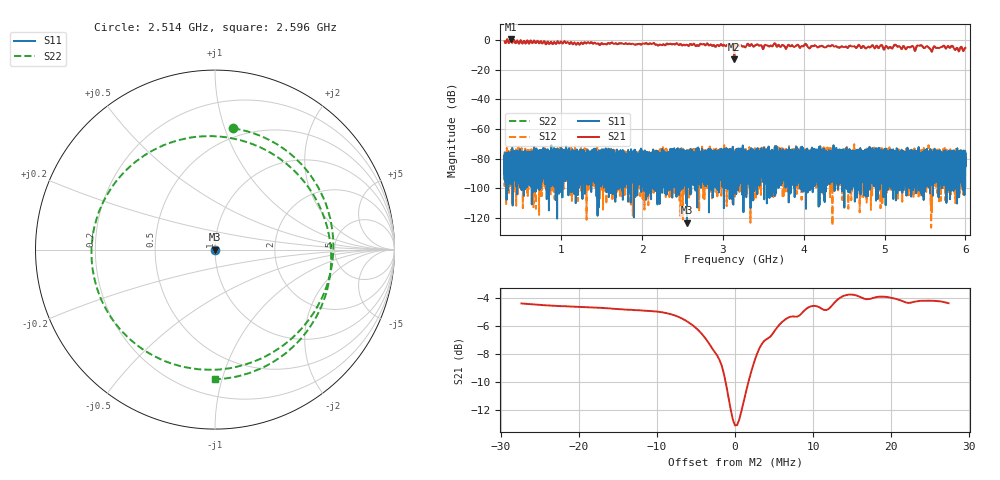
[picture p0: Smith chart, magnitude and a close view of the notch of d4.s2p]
!Agilent Technologies,N5230C,SG49000117,A.08.50.07
!Agilent N5230C: A.08.50.07
!Date: Monday, March 18, 2024 19:13:44
!Correction: S11(Off)
!S21(Off)
!S12(Off)
!S22(Off)
!S2P File: Measurements: S11, S21, S12, S22:
# Hz S  RI  R 50
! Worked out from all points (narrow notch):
!   20001 points, 300 MHz to 6 GHz, reference 50 ohm
!   highest |S21| = 0.44 dB at 373.8 MHz (marker M1); lowest = -13.1 dB at 3.14 GHz (marker M2)
!   notch at M2: 9.4 dB deep, 4.57 MHz wide at half that depth
!   lowest |S11| = -123.1 dB at 2.556 GHz (marker M3), VSWR 1.00, Z = 50 - j5.78e-05 ohm
!   |S11| at or under -10 dB: start of sweep to end of sweep
!   |S22| runs from -13.1 to 0.5 dB; largest |S21 - S12| = 1.1
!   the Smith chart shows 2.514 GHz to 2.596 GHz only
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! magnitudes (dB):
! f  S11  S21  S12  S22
! 300 MHz  -90.3  -1.0  -75.1  -1.0
! 328.8 MHz  -84.8  0.1  -85.8  0.2
! 373.8 MHz  -92.8  0.4  -83.2  0.5
! 1.25 GHz  -84.4  -1.8  -79.3  -1.8
! 2.2 GHz  -85.0  -3.8  -86.3  -3.8
! 2.556 GHz  -123.1  -3.3  -77.5  -3.2
! 3.077 GHz  -77.0  -3.5  -78.4  -3.5
! 3.14 GHz  -82.6  -13.1  -101.9  -13.1
! 3.15 GHz  -91.5  -4.5  -78.5  -4.5
! 3.178 GHz  -87.8  -3.6  -76.3  -3.6
! 3.33 GHz  -80.3  -4.1  -90.3  -4.1
! 3.485 GHz  -75.6  -4.7  -77.8  -4.6
! 3.633 GHz  -76.1  -2.6  -74.6  -2.5
! 3.774 GHz  -85.7  -5.6  -93.2  -5.5
! 4.1 GHz  -82.1  -4.1  -79.0  -4.0
! 5.05 GHz  -80.2  -5.8  -91.0  -5.7
! 5.138 GHz  -77.1  -3.5  -86.5  -3.5
! 5.372 GHz  -88.3  -7.1  -83.2  -7.1
! 5.432 GHz  -83.6  -4.0  -79.8  -4.0
! 5.574 GHz  -85.1  -7.0  -85.2  -7.0
! 5.72 GHz  -78.4  -4.4  -78.6  -4.5
! 6 GHz  -80.6  -5.4  -81.2  -5.4
